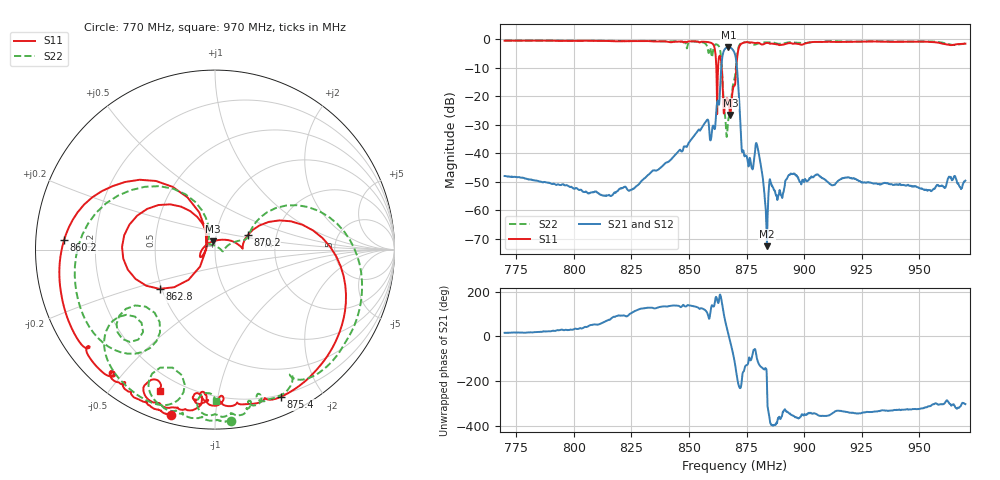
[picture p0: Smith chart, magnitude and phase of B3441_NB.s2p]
! Matrix data file written by TouchstoneData, EPCOS AG
! FILENAME: "B3441_NB.s2p"
! COMMENT: "Measurement on PCB, narrowband"
! INFO: nport=2, nfreq=1601
! DATE: "Thu Jul 17 11:23:01 2014"
! USER: "Daniel Harbusch"
! port | pin | signal
!  1  |  2  |  Input
!  2  |  5  |  Output
# MHZ S MA R 50
! freq  magS11 angS11  magS21 angS21  magS12 angS12  magS22 angS22
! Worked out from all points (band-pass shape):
!   1601 points, 770 MHz to 970 MHz, reference 50 ohm
!   highest |S21| = -2.69 dB at 867.1 MHz (marker M1); lowest = -72.6 dB at 883.9 MHz (marker M2)
!   |S21| within 3 dB of the highest: 864.6 MHz to 870.1 MHz (5.538 MHz wide, 0.639 % of centre)
!   lowest |S11| = -26.5 dB at 868 MHz (marker M3), VSWR 1.10, Z = 48.6 + j4.48 ohm
!   |S11| at or under -10 dB: 861.8876 MHz to 862.6386 MHz (751.1 kHz wide, 0.0871 % of centre); 864.2 MHz to 870.6 MHz (6.36 MHz wide, 0.733 % of centre)
!   |S22| runs from -34.2 to -0.3 dB; largest |S21 - S12| = 0.0022
!   S11 on the Smith chart (normalised r, x): 770 MHz: 0.04, -0.77; 860.2 MHz: 0.09, +0.03; 862.8 MHz: 0.49, -0.25; 870.2 MHz: 1.42, +0.24; 875.4 MHz: 0.18, -1.53; 970 MHz: 0.12, -0.68
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770  0.9533 -104.9  0.004008 15.5  0.004004 15.7  0.9608 -84.6
803.375  0.9483 -110.1  0.002262 34.7  0.002265 34.9  0.9503 -89.6
824.625  0.9358 -115.7  0.002282 101.9  0.002273 102.0  0.9385 -94.8
836.75  0.9233 -120.9  0.005209 129.6  0.0052 129.8  0.9376 -100.9
852.75  0.9247 -137.6  0.02159 132.8  0.02155 132.9  0.9215 -115.5
860.25  0.843 176.5  0.02904 137.4  0.02897 137.5  0.5533 -123.6
862.75  0.3789 -144.7  0.07904 148.5  0.07884 148.6  0.7859 -173.3
863.75  0.4728 156.4  0.2127 -178.8  0.2123 -178.7  0.5736 144.7
865.5  0.06322 -162.1  0.6709 80.2  0.6691 80.2  0.05174 135.3
867.125  0.08182 -168.5  0.7337 9.3  0.7316 9.3  0.03988 -11.2
868  0.04747 104.6  0.7198 -26.9  0.7178 -26.9  0.05871 9.1
870  0.1603 11.9  0.5475 -124.0  0.546 -124.0  0.2245 27.9
870.25  0.1992 23.9  0.4961 -140.1  0.4946 -140.0  0.2749 33.9
873.25  0.863 -43.8  0.01072 -169.8  0.0107 -169.7  0.8833 -28.1
875.375  0.8986 -65.9  0.00792 -127.5  0.007893 -127.4  0.9002 -48.1
879.875  0.8763 -84.6  0.01237 -112.4  0.01236 -112.3  0.8467 -59.4
883.875  0.8701 -89.9  0.0002353 144.1  0.0002329 143.6  0.8898 -68.3
885.625  0.8432 -92.6  0.003054 -35.6  0.003039 -35.6  0.8872 -70.8
889.25  0.795 -95.0  0.002197 -0.4  0.002187 -0.7  0.8395 -73.1
903.375  0.8985 -97.4  0.003903 13.4  0.003896 13.5  0.8956 -77.5
936.75  0.9117 -109.6  0.002906 26.5  0.002907 26.5  0.9255 -88.7
970  0.8432 -111.3  0.003324 56.3  0.003312 56.2  0.8462 -89.8
